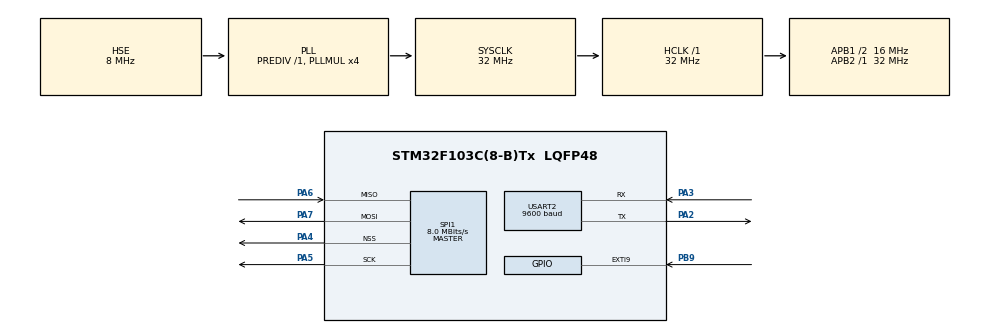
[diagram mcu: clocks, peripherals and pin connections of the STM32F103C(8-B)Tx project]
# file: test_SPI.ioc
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Dma.Request0=SPI1_RX
Dma.Request1=SPI1_TX
Dma.Request2=USART2_RX
Dma.Request3=USART2_TX
Dma.SPI1_RX.0.Direction=DMA_PERIPH_TO_MEMORY
Dma.SPI1_RX.0.Instance=DMA1_Channel2
Dma.SPI1_RX.0.MemDataAlignment=DMA_MDATAALIGN_HALFWORD
Dma.SPI1_RX.0.MemInc=DMA_MINC_ENABLE
Dma.SPI1_RX.0.Mode=DMA_NORMAL
Dma.SPI1_RX.0.PeriphDataAlignment=DMA_PDATAALIGN_HALFWORD
Dma.SPI1_RX.0.PeriphInc=DMA_PINC_DISABLE
Dma.SPI1_RX.0.Priority=DMA_PRIORITY_LOW
Dma.SPI1_TX.1.Direction=DMA_MEMORY_TO_PERIPH
Dma.SPI1_TX.1.Instance=DMA1_Channel3
Dma.SPI1_TX.1.MemDataAlignment=DMA_MDATAALIGN_HALFWORD
Dma.SPI1_TX.1.MemInc=DMA_MINC_ENABLE
Dma.SPI1_TX.1.Mode=DMA_NORMAL
Dma.SPI1_TX.1.PeriphDataAlignment=DMA_PDATAALIGN_HALFWORD
Dma.SPI1_TX.1.PeriphInc=DMA_PINC_DISABLE
Dma.SPI1_TX.1.Priority=DMA_PRIORITY_LOW
Dma.USART2_RX.2.Direction=DMA_PERIPH_TO_MEMORY
Dma.USART2_RX.2.Instance=DMA1_Channel6
Dma.USART2_RX.2.MemDataAlignment=DMA_MDATAALIGN_BYTE
Dma.USART2_RX.2.MemInc=DMA_MINC_ENABLE
Dma.USART2_RX.2.Mode=DMA_NORMAL
Dma.USART2_RX.2.PeriphDataAlignment=DMA_PDATAALIGN_BYTE
Dma.USART2_RX.2.PeriphInc=DMA_PINC_DISABLE
Dma.USART2_RX.2.Priority=DMA_PRIORITY_LOW
Dma.USART2_TX.3.Direction=DMA_MEMORY_TO_PERIPH
Dma.USART2_TX.3.Instance=DMA1_Channel7
Dma.USART2_TX.3.MemDataAlignment=DMA_MDATAALIGN_BYTE
Dma.USART2_TX.3.MemInc=DMA_MINC_ENABLE
Dma.USART2_TX.3.Mode=DMA_NORMAL
Dma.USART2_TX.3.PeriphDataAlignment=DMA_PDATAALIGN_BYTE
Dma.USART2_TX.3.PeriphInc=DMA_PINC_DISABLE
Dma.USART2_TX.3.Priority=DMA_PRIORITY_LOW
FREERTOS.Events01=uart_RX_,Dynamic,NULL;uart_TX_,Dynamic,NULL;spi_RX_,Dynamic,NULL;spi_TX_,Dynamic,NULL
FREERTOS.Tasks01=defaultTask,24,128,StartDefaultTask,Default,NULL,Dynamic,NULL,NULL;UART_comm,8,128,UART_communication,Default,NULL,Dynamic,NULL,NULL;SPI_comm,8,128,SPI_communication,Default,NULL,Dynamic,NULL,NULL
FREERTOS.configUSE_NEWLIB_REENTRANT=1
Mcu.Family=STM32F1
Mcu.Name=STM32F103C(8-B)Tx
Mcu.Package=LQFP48
NVIC.DMA1_Channel2_IRQn=true\:5\:0\:false\:false\:true\:true\:false\:true\:true
NVIC.DMA1_Channel3_IRQn=true\:5\:0\:false\:false\:true\:true\:false\:true\:true
NVIC.DMA1_Channel6_IRQn=true\:5\:0\:false\:false\:true\:true\:false\:true\:true
NVIC.DMA1_Channel7_IRQn=true\:5\:0\:false\:false\:true\:true\:false\:true\:true
NVIC.EXTI9_5_IRQn=true\:5\:0\:false\:false\:true\:true\:true\:true\:true
NVIC.PriorityGroup=NVIC_PRIORITYGROUP_4
PA13.Mode=Serial_Wire
PA13.Signal=SYS_JTMS-SWDIO
PA14.Mode=Serial_Wire
PA14.Signal=SYS_JTCK-SWCLK
PA2.Mode=Asynchronous
PA2.Signal=USART2_TX
PA3.Mode=Asynchronous
PA3.Signal=USART2_RX
PA4.Mode=NSS_Signal_Hard_Output
PA4.Signal=SPI1_NSS
PA5.Mode=Full_Duplex_Master
PA5.Signal=SPI1_SCK
PA6.Mode=Full_Duplex_Master
PA6.Signal=SPI1_MISO
PA7.Mode=Full_Duplex_Master
PA7.Signal=SPI1_MOSI
PB9.Signal=GPXTI9
PD0-OSC_IN.Mode=HSE-External-Oscillator
PD0-OSC_IN.Signal=RCC_OSC_IN
PD1-OSC_OUT.Mode=HSE-External-Oscillator
PD1-OSC_OUT.Signal=RCC_OSC_OUT
ProjectManager.HeapSize=0x200
ProjectManager.StackSize=0x400
ProjectManager.TargetToolchain=STM32CubeIDE
RCC.AHBFreq_Value=32000000
RCC.APB1CLKDivider=RCC_HCLK_DIV2
RCC.APB1Freq_Value=16000000
RCC.APB1TimFreq_Value=32000000
RCC.APB2Freq_Value=32000000
RCC.APB2TimFreq_Value=32000000
RCC.HCLKFreq_Value=32000000
RCC.PLLMUL=RCC_PLL_MUL4
RCC.PLLSourceVirtual=RCC_PLLSOURCE_HSE
RCC.SYSCLKFreq_VALUE=32000000
RCC.SYSCLKSource=RCC_SYSCLKSOURCE_PLLCLK
RCC.USBFreq_Value=32000000
SPI1.BaudRatePrescaler=SPI_BAUDRATEPRESCALER_4
SPI1.CLKPolarity=SPI_POLARITY_HIGH
SPI1.CalculateBaudRate=8.0 MBits/s
SPI1.DataSize=SPI_DATASIZE_16BIT
SPI1.Direction=SPI_DIRECTION_2LINES
SPI1.Mode=SPI_MODE_MASTER
SPI1.VirtualNSS=VM_NSSHARD
SPI1.VirtualType=VM_MASTER
USART2.BaudRate=9600
USART2.VirtualMode=VM_ASYNC
USART2.WordLength=WORDLENGTH_8B
VP_FREERTOS_VS_CMSIS_V2.Mode=CMSIS_V2
board=custom

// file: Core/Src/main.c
/* USER CODE BEGIN Header */
/**
  ******************************************************************************
  * @file           : main.c
  * @brief          : Main program body
  ******************************************************************************
  * @attention
  *
  * Copyright (c) 2024 STMicroelectronics.
  * All rights reserved.
  *
  * This software is licensed under terms that can be found in the LICENSE file
  * in the root directory of this software component.
  * If no LICENSE file comes with this software, it is provided AS-IS.
  *
  ******************************************************************************
  */
/* USER CODE END Header */
#include "main.h"
#include "cmsis_os.h"
#include "dma.h"
#include "spi.h"
#include "usart.h"
#include "gpio.h"

void SystemClock_Config(void);
void MX_FREERTOS_Init(void);

int main(void)
{

  /* MCU Configuration--------------------------------------------------------*/

  /* Reset of all peripherals, Initializes the Flash interface and the Systick. */
  HAL_Init();

  /* Configure the system clock */
  SystemClock_Config();

  /* Initialize all configured peripherals */
  MX_GPIO_Init();
  MX_DMA_Init();
  MX_SPI1_Init();
  MX_USART2_UART_Init();

  /* Init scheduler */
  osKernelInitialize();  /* Call init function for freertos objects (in freertos.c) */
  MX_FREERTOS_Init();

  /* Start scheduler */
  osKernelStart();
  /* We should never get here as control is now taken by the scheduler */
  /* Infinite loop */
  while (1)
  {

  }
}

void SystemClock_Config(void)
{
  RCC_OscInitTypeDef RCC_OscInitStruct = {0};
  RCC_ClkInitTypeDef RCC_ClkInitStruct = {0};

  /** Initializes the RCC Oscillators according to the specified parameters
  * in the RCC_OscInitTypeDef structure.
  */
  RCC_OscInitStruct.OscillatorType = RCC_OSCILLATORTYPE_HSE;
  RCC_OscInitStruct.HSEState = RCC_HSE_ON;
  RCC_OscInitStruct.HSEPredivValue = RCC_HSE_PREDIV_DIV1;
  RCC_OscInitStruct.HSIState = RCC_HSI_ON;
  RCC_OscInitStruct.PLL.PLLState = RCC_PLL_ON;
  RCC_OscInitStruct.PLL.PLLSource = RCC_PLLSOURCE_HSE;
  RCC_OscInitStruct.PLL.PLLMUL = RCC_PLL_MUL4;
  if (HAL_RCC_OscConfig(&RCC_OscInitStruct) != HAL_OK)
  {
    Error_Handler();
  }

  /** Initializes the CPU, AHB and APB buses clocks
  */
  RCC_ClkInitStruct.ClockType = RCC_CLOCKTYPE_HCLK|RCC_CLOCKTYPE_SYSCLK
                              |RCC_CLOCKTYPE_PCLK1|RCC_CLOCKTYPE_PCLK2;
  RCC_ClkInitStruct.SYSCLKSource = RCC_SYSCLKSOURCE_PLLCLK;
  RCC_ClkInitStruct.AHBCLKDivider = RCC_SYSCLK_DIV1;
  RCC_ClkInitStruct.APB1CLKDivider = RCC_HCLK_DIV2;
  RCC_ClkInitStruct.APB2CLKDivider = RCC_HCLK_DIV1;

  if (HAL_RCC_ClockConfig(&RCC_ClkInitStruct, FLASH_LATENCY_1) != HAL_OK)
  {
    Error_Handler();
  }
}

void Error_Handler(void)
{
  __disable_irq();
  while (1)
  {
  }
}

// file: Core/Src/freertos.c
/* USER CODE BEGIN Header */
/**
  ******************************************************************************
  * File Name          : freertos.c
  * Description        : Code for freertos applications
  ******************************************************************************
  * @attention
  *
  * Copyright (c) 2024 STMicroelectronics.
  * All rights reserved.
  *
  * This software is licensed under terms that can be found in the LICENSE file
  * in the root directory of this software component.
  * If no LICENSE file comes with this software, it is provided AS-IS.
  *
  ******************************************************************************
  */
/* USER CODE END Header */

#include "FreeRTOS.h"
#include "task.h"
#include "main.h"
#include "cmsis_os.h"

/* USER CODE BEGIN Includes */
#include "spi.h"
#include "usart.h"
#include "gpio.h"
/* USER CODE END Includes */

/* USER CODE BEGIN PTD */
uint8_t uart_rx_data[1];
uint8_t spi_rx_data[1];
uint8_t uart_to_spi[100];
uint8_t spi_to_uart[100];
uint8_t uart_to_spi_lenght=0;
uint8_t spi_to_uart_lenght=0;
/* USER CODE END PTD */

/* Definitions for defaultTask */
osThreadId_t defaultTaskHandle;
const osThreadAttr_t defaultTask_attributes = {
  .name = "defaultTask",
  .stack_size = 128 * 4,
  .priority = (osPriority_t) osPriorityNormal,
};
/* Definitions for UART_comm */
osThreadId_t UART_commHandle;
const osThreadAttr_t UART_comm_attributes = {
  .name = "UART_comm",
  .stack_size = 128 * 4,
  .priority = (osPriority_t) osPriorityLow,
};
/* Definitions for SPI_comm */
osThreadId_t SPI_commHandle;
const osThreadAttr_t SPI_comm_attributes = {
  .name = "SPI_comm",
  .stack_size = 128 * 4,
  .priority = (osPriority_t) osPriorityLow,
};
/* Definitions for uart_RX_ */
osEventFlagsId_t uart_RX_Handle;
const osEventFlagsAttr_t uart_RX__attributes = {
  .name = "uart_RX_"
};
/* Definitions for uart_TX_ */
osEventFlagsId_t uart_TX_Handle;
const osEventFlagsAttr_t uart_TX__attributes = {
  .name = "uart_TX_"
};
/* Definitions for spi_RX_ */
osEventFlagsId_t spi_RX_Handle;
const osEventFlagsAttr_t spi_RX__attributes = {
  .name = "spi_RX_"
};
/* Definitions for spi_TX_ */
osEventFlagsId_t spi_TX_Handle;
const osEventFlagsAttr_t spi_TX__attributes = {
  .name = "spi_TX_"
};

/* USER CODE BEGIN FunctionPrototypes */
void HAL_UART_RxCpltCallback(UART_HandleTypeDef *huart)
{
	osEventFlagsSet(uart_RX_Handle, 0x01);
}

void HAL_UART_TxCpltCallback(UART_HandleTypeDef *huart)
{
	osEventFlagsSet(uart_TX_Handle, 0x01);
}

void HAL_SPI_RxCpltCallback(SPI_HandleTypeDef *huart)
{
	osEventFlagsSet(spi_RX_Handle, 0x01);
}

void HAL_SPI_TxCpltCallback(SPI_HandleTypeDef *huart)
{
	osEventFlagsSet(spi_TX_Handle, 0x01);
}

/* USER CODE END FunctionPrototypes */

void StartDefaultTask(void *argument);
void UART_communication(void *argument);
void SPI_communication(void *argument);

void MX_FREERTOS_Init(void); /* (MISRA C 2004 rule 8.1) */

void MX_FREERTOS_Init(void) {

  /* Create the thread(s) */
  /* creation of defaultTask */
  defaultTaskHandle = osThreadNew(StartDefaultTask, NULL, &defaultTask_attributes);

  /* creation of UART_comm */
  UART_commHandle = osThreadNew(UART_communication, NULL, &UART_comm_attributes);

  /* creation of SPI_comm */
  SPI_commHandle = osThreadNew(SPI_communication, NULL, &SPI_comm_attributes);

  /* Create the event(s) */
  /* creation of uart_RX_ */
  uart_RX_Handle = osEventFlagsNew(&uart_RX__attributes);

  /* creation of uart_TX_ */
  uart_TX_Handle = osEventFlagsNew(&uart_TX__attributes);

  /* creation of spi_RX_ */
  spi_RX_Handle = osEventFlagsNew(&spi_RX__attributes);

  /* creation of spi_TX_ */
  spi_TX_Handle = osEventFlagsNew(&spi_TX__attributes);

}

void StartDefaultTask(void *argument)
{
  for(;;)
  {
    osDelay(1);
  }
}

void UART_communication(void *argument)
{
  /* USER CODE BEGIN UART_communication */
	HAL_SPI_Receive_DMA(&hspi1,spi_rx_data,2);
  /* Infinite loop */
  for(;;)
  {
	osEventFlagsWait(spi_RX_Handle, 0x01, osFlagsWaitAny, osWaitForever);

	while(spi_rx_data[0]!= 0U){
		spi_to_uart[uart_to_spi_lenght] = uart_rx_data[0];
		spi_to_uart[uart_to_spi_lenght+1] = uart_rx_data[1];
		HAL_SPI_Receive(&hspi1,spi_rx_data,2,50);
		spi_to_uart_lenght+=2;
	}

	if (spi_to_uart_lenght != 0) {
		HAL_UART_Transmit_DMA(&huart2,spi_to_uart,spi_to_uart_lenght);
		spi_to_uart_lenght = 0;
	}

	HAL_SPI_Receive_DMA(&hspi1,spi_rx_data,1);
  }
  /* USER CODE END UART_communication */
}

void SPI_communication(void *argument)
{
  /* USER CODE BEGIN SPI_communication */
  HAL_UART_Receive_DMA(&huart2,uart_to_spi,1);
  /* Infinite loop */
  for(;;)
  {
    osEventFlagsWait(uart_RX_Handle, 0x01, osFlagsWaitAny, osWaitForever);

    while(uart_rx_data[0]!= '\0'){
		uart_to_spi[uart_to_spi_lenght] = uart_rx_data[0];
		HAL_UART_Receive(&huart2,uart_rx_data,1,50);
		uart_to_spi_lenght++;
	}

    if (uart_to_spi_lenght != 0) {
    	HAL_SPI_Transmit_DMA(&hspi1,uart_to_spi,uart_to_spi_lenght);
    	uart_to_spi_lenght = 0;
    }

    HAL_UART_Receive_DMA(&huart2,uart_rx_data,1);
  }
  /* USER CODE END SPI_communication */
}
